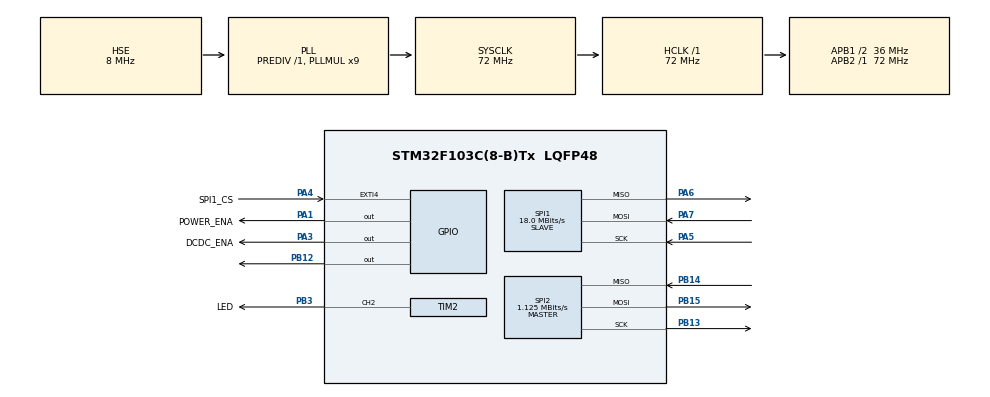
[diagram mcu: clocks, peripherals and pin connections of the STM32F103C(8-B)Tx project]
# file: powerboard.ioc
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Dma.Request0=SPI1_TX
Dma.Request1=SPI1_RX
Dma.Request2=TIM2_CH2/CH4
Dma.SPI1_RX.1.Direction=DMA_PERIPH_TO_MEMORY
Dma.SPI1_RX.1.Instance=DMA1_Channel2
Dma.SPI1_RX.1.MemDataAlignment=DMA_MDATAALIGN_BYTE
Dma.SPI1_RX.1.MemInc=DMA_MINC_ENABLE
Dma.SPI1_RX.1.Mode=DMA_NORMAL
Dma.SPI1_RX.1.PeriphDataAlignment=DMA_PDATAALIGN_BYTE
Dma.SPI1_RX.1.PeriphInc=DMA_PINC_DISABLE
Dma.SPI1_RX.1.Priority=DMA_PRIORITY_HIGH
Dma.SPI1_TX.0.Direction=DMA_MEMORY_TO_PERIPH
Dma.SPI1_TX.0.Instance=DMA1_Channel3
Dma.SPI1_TX.0.MemDataAlignment=DMA_MDATAALIGN_BYTE
Dma.SPI1_TX.0.MemInc=DMA_MINC_ENABLE
Dma.SPI1_TX.0.Mode=DMA_NORMAL
Dma.SPI1_TX.0.PeriphDataAlignment=DMA_PDATAALIGN_BYTE
Dma.SPI1_TX.0.PeriphInc=DMA_PINC_DISABLE
Dma.SPI1_TX.0.Priority=DMA_PRIORITY_HIGH
Dma.TIM2_CH2/CH4.2.Direction=DMA_MEMORY_TO_PERIPH
Dma.TIM2_CH2/CH4.2.Instance=DMA1_Channel7
Dma.TIM2_CH2/CH4.2.MemDataAlignment=DMA_MDATAALIGN_HALFWORD
Dma.TIM2_CH2/CH4.2.MemInc=DMA_MINC_ENABLE
Dma.TIM2_CH2/CH4.2.Mode=DMA_NORMAL
Dma.TIM2_CH2/CH4.2.PeriphDataAlignment=DMA_PDATAALIGN_HALFWORD
Dma.TIM2_CH2/CH4.2.PeriphInc=DMA_PINC_DISABLE
Dma.TIM2_CH2/CH4.2.Priority=DMA_PRIORITY_LOW
Mcu.Family=STM32F1
Mcu.Name=STM32F103C(8-B)Tx
Mcu.Package=LQFP48
NVIC.DMA1_Channel2_IRQn=true\:0\:0\:false\:false\:true\:false\:true
NVIC.DMA1_Channel3_IRQn=true\:0\:0\:false\:false\:true\:false\:true
NVIC.DMA1_Channel7_IRQn=true\:0\:0\:false\:false\:true\:false\:true
NVIC.EXTI4_IRQn=true\:0\:0\:false\:false\:true\:true\:true
NVIC.PriorityGroup=NVIC_PRIORITYGROUP_4
NVIC.SPI1_IRQn=true\:0\:0\:false\:false\:true\:true\:true
NVIC.TIM3_IRQn=true\:0\:0\:false\:false\:true\:true\:true
PA1.GPIO_Label=POWER_ENA
PA1.Signal=GPIO_Output
PA13.Mode=Serial_Wire
PA13.Signal=SYS_JTMS-SWDIO
PA14.Mode=Serial_Wire
PA14.Signal=SYS_JTCK-SWCLK
PA3.GPIO_Label=DCDC_ENA
PA3.Signal=GPIO_Output
PA4.GPIO_Label=SPI1_CS
PA4.GPIO_PuPd=GPIO_PULLUP
PA4.Signal=GPXTI4
PA5.Mode=Full_Duplex_Slave
PA5.Signal=SPI1_SCK
PA6.Mode=Full_Duplex_Slave
PA6.Signal=SPI1_MISO
PA7.Mode=Full_Duplex_Slave
PA7.Signal=SPI1_MOSI
PB12.Signal=GPIO_Output
PB13.Mode=Full_Duplex_Master
PB13.Signal=SPI2_SCK
PB14.Mode=Full_Duplex_Master
PB14.Signal=SPI2_MISO
PB15.Mode=Full_Duplex_Master
PB15.Signal=SPI2_MOSI
PB3.GPIO_Label=LED
PB3.Signal=S_TIM2_CH2
PD0-OSC_IN.Mode=HSE-External-Oscillator
PD0-OSC_IN.Signal=RCC_OSC_IN
PD1-OSC_OUT.Mode=HSE-External-Oscillator
PD1-OSC_OUT.Signal=RCC_OSC_OUT
ProjectManager.HeapSize=0x200
ProjectManager.StackSize=0x400
ProjectManager.TargetToolchain=STM32CubeIDE
RCC.AHBFreq_Value=72000000
RCC.APB1CLKDivider=RCC_HCLK_DIV2
RCC.APB1Freq_Value=36000000
RCC.APB1TimFreq_Value=72000000
RCC.APB2Freq_Value=72000000
RCC.APB2TimFreq_Value=72000000
RCC.HCLKFreq_Value=72000000
RCC.PLLMUL=RCC_PLL_MUL9
RCC.PLLSourceVirtual=RCC_PLLSOURCE_HSE
RCC.SYSCLKFreq_VALUE=72000000
RCC.SYSCLKSource=RCC_SYSCLKSOURCE_PLLCLK
RCC.USBFreq_Value=72000000
SH.S_TIM2_CH2.0=TIM2_CH2,PWM Generation2 CH2
SPI1.BaudRatePrescaler=SPI_BAUDRATEPRESCALER_4
SPI1.CLKPhase=SPI_PHASE_1EDGE
SPI1.CLKPolarity=SPI_POLARITY_LOW
SPI1.CalculateBaudRate=18.0 MBits/s
SPI1.Direction=SPI_DIRECTION_2LINES
SPI1.Mode=SPI_MODE_SLAVE
SPI1.VirtualType=VM_SLAVE
SPI2.BaudRatePrescaler=SPI_BAUDRATEPRESCALER_32
SPI2.CLKPolarity=SPI_POLARITY_HIGH
SPI2.CalculateBaudRate=1.125 MBits/s
SPI2.DataSize=SPI_DATASIZE_8BIT
SPI2.Direction=SPI_DIRECTION_2LINES
SPI2.Mode=SPI_MODE_MASTER
SPI2.VirtualType=VM_MASTER
TIM2.Channel-PWM\ Generation2\ CH2=TIM_CHANNEL_2
TIM2.Period=90-1
TIM3.AutoReloadPreload=TIM_AUTORELOAD_PRELOAD_DISABLE
TIM3.ClockDivision=TIM_CLOCKDIVISION_DIV1
TIM3.Period=65535
TIM3.Prescaler=71
VP_TIM2_VS_ClockSourceINT.Mode=Internal
VP_TIM3_VS_ClockSourceINT.Mode=Internal
board=custom

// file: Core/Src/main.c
/* USER CODE BEGIN Header */
/**
  ******************************************************************************
  * @file           : main.c
  * @brief          : Main program body
  ******************************************************************************
  * @attention
  *
  * <h2><center>&copy; Copyright (c) 2021 STMicroelectronics.
  * All rights reserved.</center></h2>
  *
  * This software component is licensed by ST under BSD 3-Clause license,
  * the "License"; You may not use this file except in compliance with the
  * License. You may obtain a copy of the License at:
  *                        opensource.org/licenses/BSD-3-Clause
  *
  ******************************************************************************
  */
/* USER CODE END Header */
#include "main.h"

/* USER CODE BEGIN Includes */
#include "ws2812.h"
#include "ina239.h"
#include "spi_com.h"
/* USER CODE END Includes */

SPI_HandleTypeDef hspi1;
SPI_HandleTypeDef hspi2;
DMA_HandleTypeDef hdma_spi1_tx;
DMA_HandleTypeDef hdma_spi1_rx;

TIM_HandleTypeDef htim2;
TIM_HandleTypeDef htim3;
DMA_HandleTypeDef hdma_tim2_ch2_ch4;

/* USER CODE BEGIN PV */
//                   |  8  |  8  |     16    |     16    |            32         |   16      |
//                   |0xaa | cpt |    vbus   |   vshunt  |          energy       |  CRC      |  Power board Sensor message
#define INIT_TX_BUF  {0xaa, 0xa0, 0xaa, 0xaa, 0xaa, 0xaa, 0xaa, 0xaa, 0xaa, 0xaa, 0xaa, 0x00}

//                   |  8  |  8  |     16    |     16    |    16     |    16     |   16      |
//                   |0xbb | cmd |  vbusmax  | vshuntmax |window_time|           |  CRC      |  Power board Command message
#define INIT_RX_BUF  {0xbb, 0x00, 0x00, 0x00, 0x00, 0x00, 0x00, 0x00, 0x00, 0x00, 0x00, 0x00}

//cmd:
//0x00 no command
//0x01 turn off power
//0x02 turn off power and logic
//0x03 turn on power
//0xC0-0xFF overwrite LED Color using 6bits [1 1 R R G G B B]

uint8_t TX_buffer_SPI1[12] = INIT_TX_BUF;
uint8_t RX_buffer_SPI1[12] = INIT_RX_BUF;

uint8_t sensor_frame[12] = INIT_TX_BUF;
uint8_t command_frame[12] = INIT_RX_BUF;

/* USER CODE END PV */

void SystemClock_Config(void);
static void MX_GPIO_Init(void);
static void MX_DMA_Init(void);
static void MX_SPI1_Init(void);
static void MX_SPI2_Init(void);
static void MX_TIM3_Init(void);
static void MX_TIM2_Init(void);

int main(void)
{

  /* MCU Configuration--------------------------------------------------------*/

  /* Reset of all peripherals, Initializes the Flash interface and the Systick. */
  HAL_Init();

  /* Configure the system clock */
  SystemClock_Config();

  /* Initialize all configured peripherals */
  MX_GPIO_Init();
  MX_DMA_Init();
  MX_SPI1_Init();
  MX_SPI2_Init();
  MX_TIM3_Init();
  MX_TIM2_Init();
  /* USER CODE BEGIN 2 */
  HAL_TIM_Base_Start(&htim3);
  HAL_GPIO_WritePin(GPIOA, GPIO_PIN_3, GPIO_PIN_SET); //Enable the DC/DC converter even if user stop pressing "ON"
  HAL_Delay(100);
  HAL_GPIO_WritePin(GPIOA, GPIO_PIN_1, GPIO_PIN_SET); //Enable Power Output
  /* USER CODE END 2 */

  /* Infinite loop */
  /* USER CODE BEGIN WHILE */
  uint16_t vbus=0;
  int16_t vshunt=0;

  int16_t  vshuntValueThreshold = 25 * 800; // 25A * 800  ---  with 800=(4e-3/5e-6)=4mOhm / (5uV/LSB)  ---   40A is the maximum
  uint16_t vbusValueThreshold   = 0; //TODO
  int32_t vshuntTimeThreshold = 100*1000; //100ms
  int32_t vbusTimeThreshold   = 100*1000; //100ms

  int32_t periodVshuntAboveThreshold=0;
  int32_t periodVbusAboveThreshold=0;

  char errorOverCurrent = 0;
  char errorUnderVoltage = 0;

  union {
    float asFloat;
    unsigned char asBytes[4];
  } energy={.asFloat=0.0f};

  uint16_t time = __HAL_TIM_GET_COUNTER(&htim3);
  uint16_t time_diff = 0;
  uint16_t sample_time;
  uint16_t last_sample_time = 0;
  uint16_t dt;
  uint16_t crc;
  uint8_t red = 0;

  int i;
  uint8_t cpt=0;
  last_sample_time=__HAL_TIM_GET_COUNTER(&htim3);

  //Prepare the First SPI communication. Next ones will be triggered by the DMA IRQ
  HAL_SPI_TransmitReceive_DMA(&hspi1, TX_buffer_SPI1, RX_buffer_SPI1, 12);

  while (1) //This loop should never be executed in more that 65ms for the energy integration to stay valid
  {
	  cpt++;
	  //HAL_SPI_TransmitReceive_DMA(&hspi1, TX_buffer_SPI1, RX_buffer_SPI1, 12);
	  time_diff = __HAL_TIM_GET_COUNTER(&htim3) - time ;
	  if (time_diff >= 1000) //Blink LED in RED
	  {
		  time = __HAL_TIM_GET_COUNTER(&htim3);
		  red = 0xff * (red==0);
      set_rgb_led_color(red,0,0);
	  }
	  sample_time = __HAL_TIM_GET_COUNTER(&htim3); //time in microseconds
	  dt = sample_time - last_sample_time; //(all in uint16, so no overflow problems here)
	  last_sample_time = sample_time;
	  vbus = read_register16_INA239(hspi2,REG_INA_VBUS);
	  vshunt = -read_register16_INA239(hspi2,REG_INA_VSHUNT);
	  //power = read_register24_INA239(hspi2,REG_INA_POWER);

	  //Over current detection
	  if (vshunt > vshuntValueThreshold || vshunt < -vshuntValueThreshold)
	  {
		  periodVshuntAboveThreshold += dt;
	  }
	  else
	  {
		  if (periodVshuntAboveThreshold>dt)
		  {
			  periodVshuntAboveThreshold -= dt;
		  }
		  else
		  {
			  periodVshuntAboveThreshold = 0;
		  }
	  }
	  errorOverCurrent = (periodVshuntAboveThreshold > vshuntTimeThreshold);

	  //Under voltage detection
	  if (vbus < vbusValueThreshold)
	  {
		  periodVbusAboveThreshold += dt;
	  }
	  else
	  {
		  if (periodVbusAboveThreshold>dt)
		  {
			  periodVbusAboveThreshold -= dt;
		  }
		  else
		  {
			  periodVbusAboveThreshold = 0;
		  }
	  }
	  errorUnderVoltage = (periodVbusAboveThreshold > vbusTimeThreshold);

	  energy.asFloat = energy.asFloat + 1e-6 * dt*vbus*vshunt; //todo manage the units
	  sensor_frame[1] = cpt;
	  sensor_frame[2] = (vbus>>8)&0xff;
	  sensor_frame[3] = vbus&0xff;
	  sensor_frame[4] = (vshunt>>8)&0xff;
	  sensor_frame[5] = vshunt&0xff;
	  sensor_frame[6] = energy.asBytes[3];
	  sensor_frame[7] = energy.asBytes[2];
	  sensor_frame[8] = energy.asBytes[1];
	  sensor_frame[9] = energy.asBytes[0];
	  crc = crc16_ccitt(sensor_frame, 10);
	  sensor_frame[10] = (crc>>8)&0xff;
	  sensor_frame[11] = crc&0xff;
	  if (HAL_GPIO_ReadPin(GPIOA, GPIO_PIN_4)) //No SPI communication running, lets copy the buffers
	  {
		  for(i=1;i<12;i++)
		  {
			  TX_buffer_SPI1[i] = sensor_frame[i];
			  command_frame[i] = RX_buffer_SPI1[i];
		  }
	  }
	  //HAL_Delay(1);

    /* USER CODE END WHILE */

  }
}

void SystemClock_Config(void)
{
  RCC_OscInitTypeDef RCC_OscInitStruct = {0};
  RCC_ClkInitTypeDef RCC_ClkInitStruct = {0};

  /** Initializes the RCC Oscillators according to the specified parameters
  * in the RCC_OscInitTypeDef structure.
  */
  RCC_OscInitStruct.OscillatorType = RCC_OSCILLATORTYPE_HSE;
  RCC_OscInitStruct.HSEState = RCC_HSE_ON;
  RCC_OscInitStruct.HSEPredivValue = RCC_HSE_PREDIV_DIV1;
  RCC_OscInitStruct.HSIState = RCC_HSI_ON;
  RCC_OscInitStruct.PLL.PLLState = RCC_PLL_ON;
  RCC_OscInitStruct.PLL.PLLSource = RCC_PLLSOURCE_HSE;
  RCC_OscInitStruct.PLL.PLLMUL = RCC_PLL_MUL9;
  if (HAL_RCC_OscConfig(&RCC_OscInitStruct) != HAL_OK)
  {
    Error_Handler();
  }
  /** Initializes the CPU, AHB and APB buses clocks
  */
  RCC_ClkInitStruct.ClockType = RCC_CLOCKTYPE_HCLK|RCC_CLOCKTYPE_SYSCLK
                              |RCC_CLOCKTYPE_PCLK1|RCC_CLOCKTYPE_PCLK2;
  RCC_ClkInitStruct.SYSCLKSource = RCC_SYSCLKSOURCE_PLLCLK;
  RCC_ClkInitStruct.AHBCLKDivider = RCC_SYSCLK_DIV1;
  RCC_ClkInitStruct.APB1CLKDivider = RCC_HCLK_DIV2;
  RCC_ClkInitStruct.APB2CLKDivider = RCC_HCLK_DIV1;

  if (HAL_RCC_ClockConfig(&RCC_ClkInitStruct, FLASH_LATENCY_2) != HAL_OK)
  {
    Error_Handler();
  }
}

static void MX_SPI1_Init(void)
{

  /* SPI1 parameter configuration*/
  hspi1.Instance = SPI1;
  hspi1.Init.Mode = SPI_MODE_SLAVE;
  hspi1.Init.Direction = SPI_DIRECTION_2LINES;
  hspi1.Init.DataSize = SPI_DATASIZE_8BIT;
  hspi1.Init.CLKPolarity = SPI_POLARITY_LOW;
  hspi1.Init.CLKPhase = SPI_PHASE_1EDGE;
  hspi1.Init.NSS = SPI_NSS_SOFT;
  hspi1.Init.BaudRatePrescaler = SPI_BAUDRATEPRESCALER_4;
  hspi1.Init.FirstBit = SPI_FIRSTBIT_MSB;
  hspi1.Init.TIMode = SPI_TIMODE_DISABLE;
  hspi1.Init.CRCCalculation = SPI_CRCCALCULATION_DISABLE;
  hspi1.Init.CRCPolynomial = 10;
  if (HAL_SPI_Init(&hspi1) != HAL_OK)
  {
    Error_Handler();
  }
  /* USER CODE BEGIN SPI1_Init 2 */
  //Overwrite NSS configuration to use Hardware NSS input
  //(Cube cannot generate interrupt + hardware NSS)
  hspi1.Init.NSS = SPI_NSS_HARD_INPUT;
  if (HAL_SPI_Init(&hspi1) != HAL_OK)
  {
    Error_Handler();
  }
  /* USER CODE END SPI1_Init 2 */

}

static void MX_SPI2_Init(void)
{

  /* SPI2 parameter configuration*/
  hspi2.Instance = SPI2;
  hspi2.Init.Mode = SPI_MODE_MASTER;
  hspi2.Init.Direction = SPI_DIRECTION_2LINES;
  hspi2.Init.DataSize = SPI_DATASIZE_8BIT;
  hspi2.Init.CLKPolarity = SPI_POLARITY_HIGH;
  hspi2.Init.CLKPhase = SPI_PHASE_1EDGE;
  hspi2.Init.NSS = SPI_NSS_SOFT;
  hspi2.Init.BaudRatePrescaler = SPI_BAUDRATEPRESCALER_32;
  hspi2.Init.FirstBit = SPI_FIRSTBIT_MSB;
  hspi2.Init.TIMode = SPI_TIMODE_DISABLE;
  hspi2.Init.CRCCalculation = SPI_CRCCALCULATION_DISABLE;
  hspi2.Init.CRCPolynomial = 10;
  if (HAL_SPI_Init(&hspi2) != HAL_OK)
  {
    Error_Handler();
  }

}

static void MX_TIM2_Init(void)
{

  TIM_ClockConfigTypeDef sClockSourceConfig = {0};
  TIM_MasterConfigTypeDef sMasterConfig = {0};
  TIM_OC_InitTypeDef sConfigOC = {0};

  htim2.Instance = TIM2;
  htim2.Init.Prescaler = 0;
  htim2.Init.CounterMode = TIM_COUNTERMODE_UP;
  htim2.Init.Period = 90-1;
  htim2.Init.ClockDivision = TIM_CLOCKDIVISION_DIV1;
  htim2.Init.AutoReloadPreload = TIM_AUTORELOAD_PRELOAD_DISABLE;
  if (HAL_TIM_Base_Init(&htim2) != HAL_OK)
  {
    Error_Handler();
  }
  sClockSourceConfig.ClockSource = TIM_CLOCKSOURCE_INTERNAL;
  if (HAL_TIM_ConfigClockSource(&htim2, &sClockSourceConfig) != HAL_OK)
  {
    Error_Handler();
  }
  if (HAL_TIM_PWM_Init(&htim2) != HAL_OK)
  {
    Error_Handler();
  }
  sMasterConfig.MasterOutputTrigger = TIM_TRGO_RESET;
  sMasterConfig.MasterSlaveMode = TIM_MASTERSLAVEMODE_DISABLE;
  if (HAL_TIMEx_MasterConfigSynchronization(&htim2, &sMasterConfig) != HAL_OK)
  {
    Error_Handler();
  }
  sConfigOC.OCMode = TIM_OCMODE_PWM1;
  sConfigOC.Pulse = 0;
  sConfigOC.OCPolarity = TIM_OCPOLARITY_HIGH;
  sConfigOC.OCFastMode = TIM_OCFAST_DISABLE;
  if (HAL_TIM_PWM_ConfigChannel(&htim2, &sConfigOC, TIM_CHANNEL_2) != HAL_OK)
  {
    Error_Handler();
  }
  HAL_TIM_MspPostInit(&htim2);

}

static void MX_TIM3_Init(void)
{

  TIM_ClockConfigTypeDef sClockSourceConfig = {0};
  TIM_MasterConfigTypeDef sMasterConfig = {0};

  /* USER CODE BEGIN TIM3_Init 1 */
  // TIM3 counter will be incremented every microseconds
  /* USER CODE END TIM3_Init 1 */
  htim3.Instance = TIM3;
  htim3.Init.Prescaler = 71;
  htim3.Init.CounterMode = TIM_COUNTERMODE_UP;
  htim3.Init.Period = 65535;
  htim3.Init.ClockDivision = TIM_CLOCKDIVISION_DIV1;
  htim3.Init.AutoReloadPreload = TIM_AUTORELOAD_PRELOAD_DISABLE;
  if (HAL_TIM_Base_Init(&htim3) != HAL_OK)
  {
    Error_Handler();
  }
  sClockSourceConfig.ClockSource = TIM_CLOCKSOURCE_INTERNAL;
  if (HAL_TIM_ConfigClockSource(&htim3, &sClockSourceConfig) != HAL_OK)
  {
    Error_Handler();
  }
  sMasterConfig.MasterOutputTrigger = TIM_TRGO_RESET;
  sMasterConfig.MasterSlaveMode = TIM_MASTERSLAVEMODE_DISABLE;
  if (HAL_TIMEx_MasterConfigSynchronization(&htim3, &sMasterConfig) != HAL_OK)
  {
    Error_Handler();
  }

}

static void MX_DMA_Init(void)
{

  /* DMA controller clock enable */
  __HAL_RCC_DMA1_CLK_ENABLE();

  /* DMA interrupt init */
  /* DMA1_Channel2_IRQn interrupt configuration */
  HAL_NVIC_SetPriority(DMA1_Channel2_IRQn, 0, 0);
  HAL_NVIC_EnableIRQ(DMA1_Channel2_IRQn);
  /* DMA1_Channel3_IRQn interrupt configuration */
  HAL_NVIC_SetPriority(DMA1_Channel3_IRQn, 0, 0);
  HAL_NVIC_EnableIRQ(DMA1_Channel3_IRQn);
  /* DMA1_Channel7_IRQn interrupt configuration */
  HAL_NVIC_SetPriority(DMA1_Channel7_IRQn, 0, 0);
  HAL_NVIC_EnableIRQ(DMA1_Channel7_IRQn);

}

static void MX_GPIO_Init(void)
{
  GPIO_InitTypeDef GPIO_InitStruct = {0};

  /* GPIO Ports Clock Enable */
  __HAL_RCC_GPIOD_CLK_ENABLE();
  __HAL_RCC_GPIOA_CLK_ENABLE();
  __HAL_RCC_GPIOB_CLK_ENABLE();

  /*Configure GPIO pin Output Level */
  HAL_GPIO_WritePin(GPIOA, POWER_ENA_Pin|DCDC_ENA_Pin, GPIO_PIN_RESET);

  /*Configure GPIO pin Output Level */
  HAL_GPIO_WritePin(GPIOB, GPIO_PIN_12, GPIO_PIN_RESET);

  /*Configure GPIO pins : POWER_ENA_Pin DCDC_ENA_Pin */
  GPIO_InitStruct.Pin = POWER_ENA_Pin|DCDC_ENA_Pin;
  GPIO_InitStruct.Mode = GPIO_MODE_OUTPUT_PP;
  GPIO_InitStruct.Pull = GPIO_NOPULL;
  GPIO_InitStruct.Speed = GPIO_SPEED_FREQ_LOW;
  HAL_GPIO_Init(GPIOA, &GPIO_InitStruct);

  /*Configure GPIO pin : SPI1_CS_Pin */
  GPIO_InitStruct.Pin = SPI1_CS_Pin;
  GPIO_InitStruct.Mode = GPIO_MODE_IT_RISING;
  GPIO_InitStruct.Pull = GPIO_PULLUP;
  HAL_GPIO_Init(SPI1_CS_GPIO_Port, &GPIO_InitStruct);

  /*Configure GPIO pin : PB12 */
  GPIO_InitStruct.Pin = GPIO_PIN_12;
  GPIO_InitStruct.Mode = GPIO_MODE_OUTPUT_PP;
  GPIO_InitStruct.Pull = GPIO_NOPULL;
  GPIO_InitStruct.Speed = GPIO_SPEED_FREQ_LOW;
  HAL_GPIO_Init(GPIOB, &GPIO_InitStruct);

  /* EXTI interrupt init*/
  HAL_NVIC_SetPriority(EXTI4_IRQn, 0, 0);
  HAL_NVIC_EnableIRQ(EXTI4_IRQn);

}

/* USER CODE BEGIN 4 */
void HAL_GPIO_EXTI_Callback(uint16_t GPIO_Pin)
{
	if (GPIO_Pin == SPI1_CS_Pin)
	{
		if (HAL_GPIO_ReadPin(SPI1_CS_GPIO_Port,SPI1_CS_Pin) == GPIO_PIN_SET)
		{
			HAL_SPI_Abort(&hspi1);
			HAL_SPI_TransmitReceive_DMA(&hspi1, TX_buffer_SPI1, RX_buffer_SPI1, 12);
		}
	}
}

void HAL_SPI_TxRxCpltCallback(SPI_HandleTypeDef *hspi)
{
	if (hspi == &hspi1)
	{

	}
}
/* USER CODE END 4 */

void Error_Handler(void)
{
  /* USER CODE BEGIN Error_Handler_Debug */
  /* User can add his own implementation to report the HAL error return state */
  __disable_irq();
  while (1)
  {
	  HAL_Delay(300);
	  set_rgb_led_color(255,0,0);
	  HAL_Delay(300);
	  set_rgb_led_color(1,0,0);
  }
  /* USER CODE END Error_Handler_Debug */
}

/************************ (C) COPYRIGHT STMicroelectronics *****END OF FILE****/
